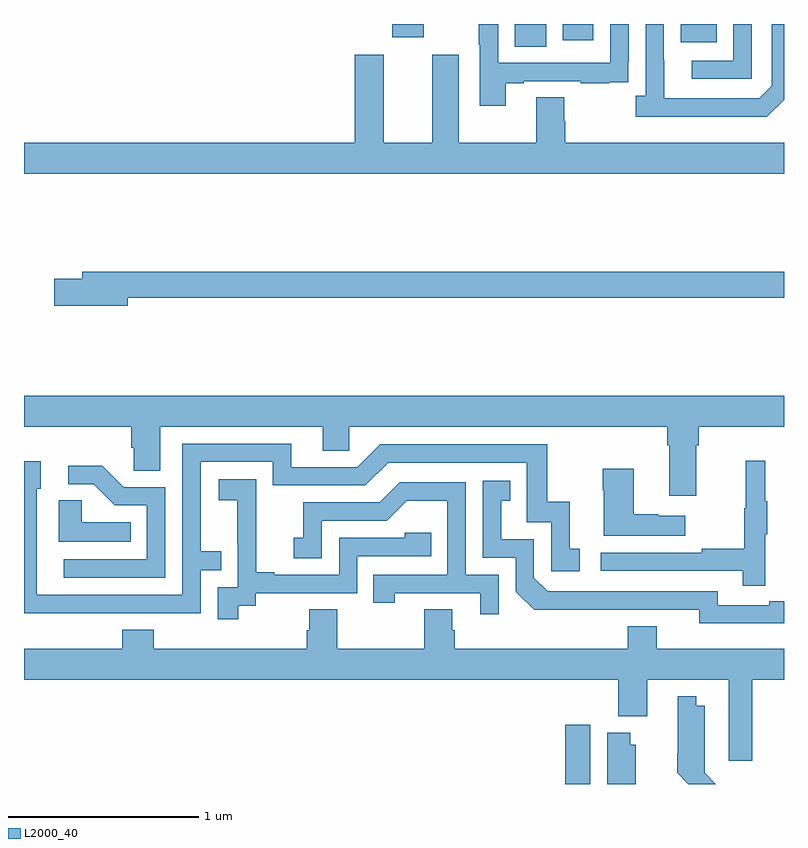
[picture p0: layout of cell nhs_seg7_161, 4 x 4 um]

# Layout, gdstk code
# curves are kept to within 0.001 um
import gdstk
lib = gdstk.Library(unit=1e-6, precision=1e-09)
def R(c, l, rs):  # rectangles x0, y0, x1, y1
    for r in rs: c.add(gdstk.rectangle(r[:2], r[2:], *l))
def P(c, l, *ps):  # polygons
    for p in ps: c.add(gdstk.Polygon(p, *l))
L2000_40 = (2000, 40)

nhs_seg7_161 = lib.new_cell('nhs_seg7_161')
R(nhs_seg7_161, L2000_40, [(123.848,1068,123.979,1068.313), (123.584,1071.88,123.748,1072), (124.457,1071.905,124.645,1072), (123.836,1071.915,123.997,1072), (122.939,1071.93,123.103,1072)])
P(nhs_seg7_161, L2000_40, [(124.83,1072),(124.734,1072),(124.734,1071.807),(124.515,1071.807),(124.515,1071.711),(124.83,1071.711)],
  [(125,1071.602),(125,1072),(124.935,1072),(124.935,1071.675),(124.869,1071.609),(124.369,1071.609),(124.368,1072),(124.272,1072),(124.272,1071.622),(124.221,1071.622),(124.221,1071.512),(124.91,1071.512)],
  [(123.535,1071.687),(123.631,1071.687),(123.631,1071.699),(123.931,1071.699),(123.931,1071.687),(124.079,1071.687),(124.079,1071.693),(124.181,1071.693),(124.181,1071.802),(124.182,1071.802),(124.182,1072),(124.086,1072),(124.086,1071.795),(123.495,1071.795),(123.495,1072),(123.394,1072),(123.394,1071.892),(123.399,1071.892),(123.399,1071.57),(123.535,1071.57)],
  [(125,1071.376),(123.848,1071.376),(123.848,1071.489),(123.843,1071.489),(123.843,1071.614),(123.695,1071.614),(123.695,1071.376),(123.289,1071.376),(123.289,1071.838),(123.149,1071.838),(123.149,1071.376),(122.893,1071.376),(122.893,1071.838),(122.741,1071.838),(122.741,1071.376),(121,1071.376),(121,1071.212),(125,1071.212)],
  [(121.546,1070.56),(125,1070.56),(125,1070.696),(121.307,1070.696),(121.307,1070.66),(121.158,1070.66),(121.158,1070.518),(121.546,1070.518)],
  [(124.537,1069.784),(124.55,1069.784),(124.55,1069.88),(125,1069.88),(125,1070.044),(121,1070.044),(121,1069.88),(121.565,1069.88),(121.565,1069.771),(121.578,1069.771),(121.578,1069.648),(121.717,1069.648),(121.717,1069.88),(122.573,1069.88),(122.573,1069.753),(122.712,1069.753),(122.712,1069.88),(124.385,1069.88),(124.385,1069.784),(124.397,1069.784),(124.397,1069.518),(124.537,1069.518)],
  [(121.433,1068.9),(121.929,1068.9),(121.929,1069.125),(122.039,1069.125),(122.039,1069.226),(121.929,1069.226),(121.929,1069.695),(122.31,1069.695),(122.31,1069.572),(122.796,1069.572),(122.916,1069.692),(123.645,1069.692),(123.645,1069.377),(123.774,1069.377),(123.774,1069.119),(123.925,1069.119),(123.925,1069.239),(123.872,1069.239),(123.872,1069.486),(123.754,1069.486),(123.754,1069.788),(122.874,1069.788),(122.754,1069.668),(122.407,1069.668),(122.407,1069.791),(121.833,1069.791),(121.833,1068.996),(121.068,1068.996),(121.068,1069.554),(121.087,1069.554),(121.087,1069.699),(121,1069.699),(121,1068.899)],
  [(124.901,1069.315),(124.912,1069.315),(124.912,1069.489),(124.901,1069.489),(124.901,1069.702),(124.798,1069.702),(124.798,1069.452),(124.791,1069.452),(124.791,1069.238),(124.567,1069.238),(124.567,1069.218),(124.035,1069.218),(124.035,1069.122),(124.783,1069.122),(124.783,1069.044),(124.901,1069.044)],
  [(121.743,1069.563),(121.524,1069.563),(121.411,1069.676),(121.233,1069.676),(121.233,1069.578),(121.367,1069.578),(121.478,1069.467),(121.647,1069.467),(121.647,1069.182),(121.209,1069.182),(121.209,1069.086),(121.743,1069.086)],
  [(124.48,1069.411),(124.337,1069.411),(124.337,1069.421),(124.21,1069.421),(124.21,1069.66),(124.045,1069.66),(124.045,1069.547),(124.052,1069.547),(124.052,1069.307),(124.48,1069.307)],
  [(122.128,1068.937),(122.22,1068.937),(122.22,1069.005),(122.754,1069.005),(122.754,1069.2),(123.143,1069.2),(123.143,1069.323),(123.003,1069.323),(123.003,1069.296),(122.658,1069.296),(122.658,1069.101),(122.317,1069.101),(122.317,1069.114),(122.222,1069.114),(122.222,1069.397),(122.223,1069.397),(122.223,1069.603),(122.025,1069.603),(122.025,1069.493),(122.123,1069.493),(122.123,1069.265),(122.124,1069.265),(122.124,1069.035),(122.019,1069.035),(122.019,1068.867),(122.128,1068.867)],
  [(124.922,1068.846),(125,1068.846),(125,1068.962),(124.922,1068.962),(124.922,1068.942),(124.65,1068.942),(124.65,1069.014),(123.756,1069.014),(123.684,1069.086),(123.684,1069.287),(123.511,1069.287),(123.511,1069.491),(123.56,1069.491),(123.56,1069.597),(123.414,1069.597),(123.414,1069.191),(123.588,1069.191),(123.588,1069.014),(123.686,1068.917),(124.554,1068.918),(124.554,1068.845)],
  [(123.498,1069.101),(123.324,1069.101),(123.324,1069.587),(122.978,1069.587),(122.873,1069.482),(122.47,1069.482),(122.47,1069.297),(122.421,1069.297),(122.421,1069.188),(122.568,1069.188),(122.568,1069.386),(122.91,1069.386),(123.014,1069.49),(123.228,1069.49),(123.228,1069.101),(122.839,1069.101),(122.839,1068.954),(122.95,1068.954),(122.95,1069.005),(123.401,1069.005),(123.401,1068.894),(123.498,1068.894)],
  [(121.562,1069.378),(121.305,1069.378),(121.305,1069.493),(121.184,1069.493),(121.184,1069.274),(121.562,1069.274)],
  [(124.832,1068.548),(125,1068.548),(125,1068.712),(124.33,1068.712),(124.33,1068.829),(124.178,1068.829),(124.178,1068.712),(123.266,1068.712),(123.266,1068.81),(123.253,1068.81),(123.253,1068.92),(123.106,1068.92),(123.106,1068.712),(122.649,1068.712),(122.649,1068.92),(122.501,1068.92),(122.501,1068.81),(122.489,1068.81),(122.489,1068.712),(121.682,1068.712),(121.682,1068.811),(121.517,1068.811),(121.517,1068.712),(121,1068.712),(121,1068.548),(124.127,1068.548),(124.127,1068.356),(124.279,1068.356),(124.279,1068.548),(124.709,1068.548),(124.709,1068.123),(124.832,1068.123)],
  [(124.583,1068.058),(124.583,1068.157),(124.582,1068.157),(124.582,1068.412),(124.537,1068.412),(124.537,1068.463),(124.44,1068.463),(124.44,1068.16),(124.439,1068.16),(124.439,1068.058),(124.497,1068),(124.641,1068)],
  [(124.219,1068.207),(124.192,1068.207),(124.192,1068.271),(124.07,1068.271),(124.07,1068),(124.219,1068)])

lib.write_gds('nhs_seg7_161.gds')
